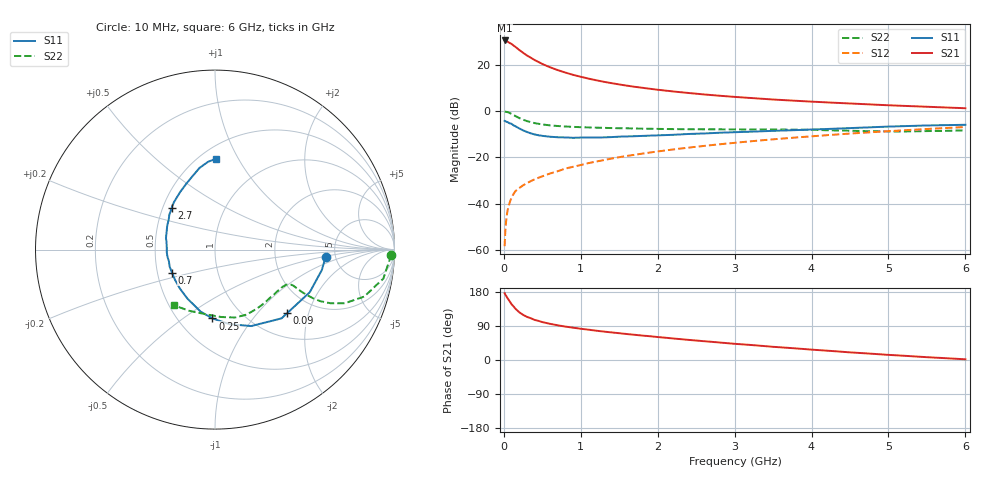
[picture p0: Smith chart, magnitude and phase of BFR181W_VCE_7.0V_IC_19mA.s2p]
! Infineon Technologies  Discrete & RF Semiconductors
! BFR181W
! VCE =  7.0 V,  IC =  19 mA
! Common Emitter S-Parameters:  Jan 2017
# GHz  S  MA  R  50
!  f  S11  S21  S12  S22
! GHz  MAG  ANG  MAG  ANG  MAG  ANG  MAG  ANG
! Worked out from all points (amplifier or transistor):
!   77 points, 10 MHz to 6 GHz, reference 50 ohm
!   highest |S21| = 30.6 dB at 10 MHz (marker M1)
!   |S21| within 3 dB of that: start of sweep to 158.9 MHz
!   unconditionally stable (mu >= 1): 713.4 MHz to 2.642 GHz
!   at 130 MHz: K = 0.39, MSG = 32.0 dB, |S12| = -35.7 dB
!   at 2.2 GHz: K = 1.04, MAG = 11.4 dB, |S12| = -16.6 dB
!   at 6 GHz: K = 0.83, MSG = 4.1 dB, |S12| = -6.9 dB
!   S11 on the Smith chart (normalised r, x): 10 MHz: 4.15, -0.55; 90 MHz: 1.48, -1.47; 250 MHz: 0.72, -0.65; 700 MHz: 0.60, -0.17; 2.7 GHz: 0.56, +0.29; 6 GHz: 0.60, +0.82
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0.01  0.6171 -3.8  33.77 176.3  0.0012 78.2  0.9827 -1.7
0.02  0.6062 -10.8  33.31 172.3  0.0027 81.4  0.9736 -3.6
0.05  0.5789 -24.2  31.87 162.4  0.0073 78.1  0.9516 -9.8
0.09  0.5358 -41.3  28.91 150.4  0.0122 73.3  0.8858 -15.9
0.1  0.5332 -45.9  28.39 147.1  0.0134 72.6  0.871 -17.5
0.15  0.4713 -64.7  24.57 135.4  0.0186 67.5  0.7841 -22.4
0.2  0.4229 -79.1  21.06 126.1  0.0217 66.6  0.7104 -24.9
0.25  0.3836 -92.2  18.3 119.2  0.0248 64.9  0.6534 -26.1
0.3  0.3545 -103.1  15.99 113.8  0.0277 64.4  0.6082 -26.4
0.4  0.3134 -119.3  12.73 105.8  0.0335 66.5  0.55 -26.1
0.5  0.2918 -132.3  10.47 100.1  0.0389 67.3  0.515 -25.6
0.6  0.2794 -142.8  8.898 95.5  0.0448 67.8  0.4924 -25.0
0.7  0.2722 -151.8  7.71 91.6  0.0501 69.6  0.4767 -24.7
0.9  0.2648 -165.9  6.092 85.2  0.0625 71.0  0.4567 -25.1
1.1  0.2692 -176.9  5.053 80.0  0.0751 71.6  0.4444 -26.1
1.5  0.2803 166.9  3.775 70.7  0.1009 72.2  0.4269 -29.9
2.1  0.3031 149.5  2.781 58.8  0.141 70.7  0.4106 -38.7
2.7  0.3344 136.3  2.225 48.0  0.184 67.9  0.404 -49.6
3.1  0.3543 128.6  1.979 41.3  0.214 65.5  0.4021 -57.0
4.1  0.4052 112.2  1.575 26.0  0.2934 58.4  0.3899 -75.6
5.1  0.4682 99.4  1.319 12.4  0.3766 49.5  0.3633 -101.3
6  0.5067 89.2  1.155 1.8  0.4532 40.5  0.3848 -126.1
